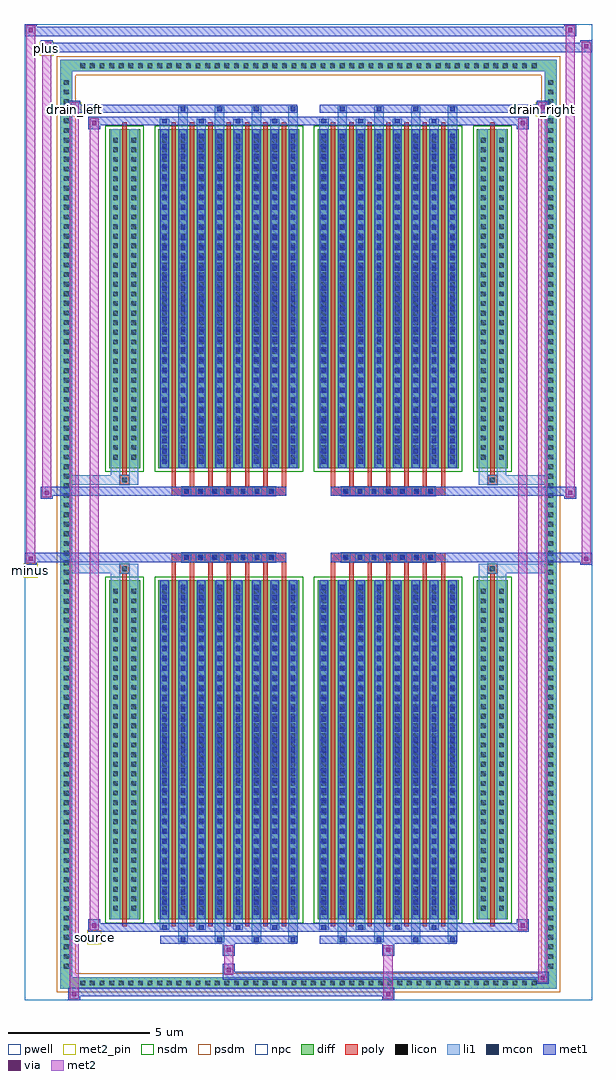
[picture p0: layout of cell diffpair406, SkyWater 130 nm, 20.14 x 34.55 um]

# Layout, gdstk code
import gdstk
lib = gdstk.Library(unit=1e-6, precision=5e-09)
def R(c, l, rs):  # rectangles x0, y0, x1, y1
    for r in rs: c.add(gdstk.rectangle(r[:2], r[2:], *l))
def A(c, l, x, y, w, h, nx, ny, dx, dy):  # array of equal rectangles
    R(c, l, [(x+i*dx, y+j*dy, x+i*dx+w, y+j*dy+h) for i in range(nx) for j in range(ny)])
def P(c, l, *ps):  # polygons
    for p in ps: c.add(gdstk.Polygon(p, *l))
pwell = (64, 44)
diff = (65, 20)
poly = (66, 20)
licon = (66, 44)
li1 = (67, 20)
mcon = (67, 44)
met1 = (68, 20)
via = (68, 44)
met2_pin = (69, 16)
met2 = (69, 20)
nsdm = (93, 44)
psdm = (94, 20)
npc = (95, 20)

diffpair406 = lib.new_cell('diffpair406')
R(diffpair406, pwell, [(-10.05,-16.84,10.05,17.71), (-7.37,-15.03,-0.01,-0.805), (0.01,-15.03,7.37,-0.805), (-7.37,0.805,-0.01,15.03), (0.01,0.805,7.37,15.03)])
A(diffpair406, diff, -8.195, -16.44, 0.41, 0.41, 48, 2, 0.34, 32.47)
A(diffpair406, diff, -8.78, -15.845, 0.41, 0.41, 1, 93, 0, 0.34)
A(diffpair406, diff, 8.37, -15.845, 0.41, 0.41, 1, 93, 0, 0.34)
R(diffpair406, diff, [(-8.195,-16.44,8.195,-16.03), (-8.78,-15.845,-8.37,15.845), (8.37,-15.845,8.78,15.845), (-7.06,-13.985,-5.96,-1.985), (-5.32,-13.985,-0.32,-1.985), (0.32,-13.985,5.32,-1.985), (5.96,-13.985,7.06,-1.985), (-7.06,1.985,-5.96,13.985), (-5.32,1.985,-0.32,13.985), (0.32,1.985,5.32,13.985), (5.96,1.985,7.06,13.985), (-8.195,16.03,8.195,16.44)])
P(diffpair406, diff, [(8.78,16.44),(-8.78,16.44),(-8.78,-16.03),(-8.37,-16.03),(-8.37,16.03),(8.37,16.03),(8.37,-16.03),(-8.37,-16.03),(-8.78,-16.03),(-8.78,-16.44),(8.78,-16.44)])
A(diffpair406, poly, -4.845, -14.235, 0.15, 12.5, 7, 2, 0.65, 15.97)
A(diffpair406, poly, 0.795, -14.235, 0.15, 12.5, 7, 2, 0.65, 15.97)
A(diffpair406, poly, -4.845, -1.735, 0.15, 0.4, 7, 2, 0.65, 3.07)
A(diffpair406, poly, 0.795, -1.735, 0.15, 0.4, 7, 2, 0.65, 3.07)
A(diffpair406, poly, -4.485, -1.335, 0.33, 0.33, 7, 2, 0.5, 2.34)
A(diffpair406, poly, 1.155, -1.335, 0.33, 0.33, 7, 2, 0.5, 2.34)
R(diffpair406, poly, [(-6.585,-14.235,-6.435,-1.735), (6.435,-14.235,6.585,-1.735), (-6.675,-1.735,-6.345,-1.405), (-6.675,-1.735,-6.345,-1.405), (6.345,-1.735,6.675,-1.405), (6.345,-1.735,6.675,-1.405), (-4.845,-1.335,-0.795,-1.005), (0.795,-1.335,4.845,-1.005), (-4.845,1.005,-0.795,1.335), (0.795,1.005,4.845,1.335), (-6.675,1.405,-6.345,1.735), (-6.675,1.405,-6.345,1.735), (6.345,1.405,6.675,1.735), (6.345,1.405,6.675,1.735), (-6.585,1.735,-6.435,14.235), (6.435,1.735,6.585,14.235)])
A(diffpair406, licon, -8.075, -16.32, 0.17, 0.17, 48, 2, 0.34, 32.47)
A(diffpair406, licon, -8.66, -15.725, 0.17, 0.17, 1, 93, 0, 0.34)
A(diffpair406, licon, 8.49, -15.725, 0.17, 0.17, 1, 93, 0, 0.34)
A(diffpair406, licon, -6.92, -13.68, 0.17, 0.17, 1, 34, 0, 0.34)
A(diffpair406, licon, -6.27, -13.68, 0.17, 0.17, 1, 34, 0, 0.34)
A(diffpair406, licon, -5.18, -13.68, 0.17, 0.17, 8, 34, 0.65, 0.34)
A(diffpair406, licon, 0.46, -13.68, 0.17, 0.17, 8, 34, 0.65, 0.34)
A(diffpair406, licon, 6.1, -13.68, 0.17, 0.17, 1, 34, 0, 0.34)
A(diffpair406, licon, 6.75, -13.68, 0.17, 0.17, 1, 34, 0, 0.34)
A(diffpair406, licon, -4.405, -1.255, 0.17, 0.17, 7, 2, 0.5, 2.34)
A(diffpair406, licon, 1.235, -1.255, 0.17, 0.17, 7, 2, 0.5, 2.34)
A(diffpair406, licon, -6.92, 2.29, 0.17, 0.17, 1, 34, 0, 0.34)
A(diffpair406, licon, -6.27, 2.29, 0.17, 0.17, 1, 34, 0, 0.34)
A(diffpair406, licon, -5.18, 2.29, 0.17, 0.17, 8, 34, 0.65, 0.34)
A(diffpair406, licon, 0.46, 2.29, 0.17, 0.17, 8, 34, 0.65, 0.34)
A(diffpair406, licon, 6.1, 2.29, 0.17, 0.17, 1, 34, 0, 0.34)
A(diffpair406, licon, 6.75, 2.29, 0.17, 0.17, 1, 34, 0, 0.34)
R(diffpair406, licon, [(-6.595,-1.655,-6.425,-1.485), (6.425,-1.655,6.595,-1.485), (-6.595,1.485,-6.425,1.655), (6.425,1.485,6.595,1.655)])
A(diffpair406, li1, -8.155, -16.4, 0.33, 0.33, 48, 2, 0.34, 32.47)
A(diffpair406, li1, -8.74, -15.805, 0.33, 0.33, 1, 93, 0, 0.34)
A(diffpair406, li1, 8.41, -15.805, 0.33, 0.33, 1, 93, 0, 0.34)
A(diffpair406, li1, -4.61, -14.79, 0.33, 0.805, 4, 2, 1.3, 28.775)
A(diffpair406, li1, -4.53, -14.79, 0.17, 0.17, 4, 2, 1.3, 29.41)
A(diffpair406, li1, 1.03, -14.79, 0.33, 0.805, 4, 2, 1.3, 28.775)
A(diffpair406, li1, 1.11, -14.79, 0.17, 0.17, 4, 2, 1.3, 29.41)
A(diffpair406, li1, -5.26, -14.36, 0.33, 0.375, 4, 2, 1.3, 28.345)
A(diffpair406, li1, -5.18, -14.36, 0.17, 0.17, 4, 2, 1.3, 28.55)
A(diffpair406, li1, 0.38, -14.36, 0.33, 0.375, 4, 2, 1.3, 28.345)
A(diffpair406, li1, 0.46, -14.36, 0.17, 0.17, 4, 2, 1.3, 28.55)
A(diffpair406, li1, -5.26, -13.985, 0.33, 12, 8, 2, 0.65, 15.97)
A(diffpair406, li1, 0.38, -13.985, 0.33, 12, 8, 2, 0.65, 15.97)
A(diffpair406, li1, -5.18, -13.83, 0.17, 0.17, 8, 33, 0.65, 0.36)
A(diffpair406, li1, -5.18, -13.83, 0.17, 11.69, 8, 2, 0.65, 15.97)
A(diffpair406, li1, 0.46, -13.83, 0.17, 0.17, 8, 33, 0.65, 0.36)
A(diffpair406, li1, 0.46, -13.83, 0.17, 11.69, 8, 2, 0.65, 15.97)
A(diffpair406, li1, -7, -13.76, 0.33, 0.33, 1, 34, 0, 0.34)
A(diffpair406, li1, -6.35, -13.76, 0.33, 0.33, 1, 34, 0, 0.34)
A(diffpair406, li1, -5.26, -13.76, 0.33, 0.33, 8, 34, 0.65, 0.34)
A(diffpair406, li1, 0.38, -13.76, 0.33, 0.33, 8, 34, 0.65, 0.34)
A(diffpair406, li1, 6.02, -13.76, 0.33, 0.33, 1, 34, 0, 0.34)
A(diffpair406, li1, 6.67, -13.76, 0.33, 0.33, 1, 34, 0, 0.34)
A(diffpair406, li1, -4.485, -1.335, 0.33, 0.33, 7, 2, 0.5, 2.34)
A(diffpair406, li1, 1.155, -1.335, 0.33, 0.33, 7, 2, 0.5, 2.34)
A(diffpair406, li1, -5.18, 2.14, 0.17, 0.17, 8, 33, 0.65, 0.36)
A(diffpair406, li1, 0.46, 2.14, 0.17, 0.17, 8, 33, 0.65, 0.36)
A(diffpair406, li1, -7, 2.21, 0.33, 0.33, 1, 34, 0, 0.34)
A(diffpair406, li1, -6.35, 2.21, 0.33, 0.33, 1, 34, 0, 0.34)
A(diffpair406, li1, -5.26, 2.21, 0.33, 0.33, 8, 34, 0.65, 0.34)
A(diffpair406, li1, 0.38, 2.21, 0.33, 0.33, 8, 34, 0.65, 0.34)
A(diffpair406, li1, 6.02, 2.21, 0.33, 0.33, 1, 34, 0, 0.34)
A(diffpair406, li1, 6.67, 2.21, 0.33, 0.33, 1, 34, 0, 0.34)
R(diffpair406, li1, [(-8.78,-16.44,-8.37,-16.03), (-8.78,-16.44,-8.37,-16.03), (-8.37,-16.44,8.37,-16.03), (8.37,-16.44,8.78,-16.03), (8.37,-16.44,8.78,-16.03), (-8.78,-16.03,-8.37,16.03), (8.37,-16.03,8.78,16.03), (-7,-13.985,-6.67,-1.985), (-6.35,-13.985,-6.02,-1.985), (6.02,-13.985,6.35,-1.985), (6.67,-13.985,7,-1.985), (-7,-1.985,-6.67,-1.405), (-6.35,-1.985,-6.02,-1.405), (6.02,-1.985,6.35,-1.405), (6.67,-1.985,7,-1.405), (-8.78,-1.735,-6.675,-1.405), (-7,-1.735,-6.675,-1.405), (-6.675,-1.735,-6.345,-1.405), (-6.345,-1.735,-6.02,-1.405), (6.02,-1.735,6.345,-1.405), (6.345,-1.735,6.675,-1.405), (6.345,-1.735,8.78,-1.405), (6.675,-1.735,7,-1.405), (-8.78,1.405,-6.675,1.735), (-7,1.405,-6.675,1.735), (-7,1.405,-6.67,1.985), (-6.675,1.405,-6.345,1.735), (-6.35,1.405,-6.02,1.985), (-6.345,1.405,-6.02,1.735), (6.02,1.405,6.345,1.735), (6.02,1.405,6.35,1.985), (6.345,1.405,6.675,1.735), (6.345,1.405,8.78,1.735), (6.67,1.405,7,1.985), (6.675,1.405,7,1.735), (-7,1.985,-6.67,13.985), (-6.35,1.985,-6.02,13.985), (6.02,1.985,6.35,13.985), (6.67,1.985,7,13.985), (-8.78,16.03,-8.37,16.44), (-8.78,16.03,-8.37,16.44), (-8.37,16.03,8.37,16.44), (8.37,16.03,8.78,16.44), (8.37,16.03,8.78,16.44)])
A(diffpair406, mcon, -4.53, -14.79, 0.17, 0.17, 4, 2, 1.3, 29.41)
A(diffpair406, mcon, 1.11, -14.79, 0.17, 0.17, 4, 2, 1.3, 29.41)
A(diffpair406, mcon, -5.18, -14.36, 0.17, 0.17, 4, 2, 1.3, 28.55)
A(diffpair406, mcon, 0.46, -14.36, 0.17, 0.17, 4, 2, 1.3, 28.55)
A(diffpair406, mcon, -5.18, -13.83, 0.17, 0.17, 8, 33, 0.65, 0.36)
A(diffpair406, mcon, 0.46, -13.83, 0.17, 0.17, 8, 33, 0.65, 0.36)
A(diffpair406, mcon, -4.405, -1.255, 0.17, 0.17, 7, 2, 0.5, 2.34)
A(diffpair406, mcon, 1.235, -1.255, 0.17, 0.17, 7, 2, 0.5, 2.34)
A(diffpair406, mcon, -5.18, 2.14, 0.17, 0.17, 8, 33, 0.65, 0.36)
A(diffpair406, mcon, 0.46, 2.14, 0.17, 0.17, 8, 33, 0.65, 0.36)
A(diffpair406, met1, -4.59, -14.85, 0.29, 0.29, 4, 2, 1.3, 29.41)
A(diffpair406, met1, 1.05, -14.85, 0.29, 0.29, 4, 2, 1.3, 29.41)
A(diffpair406, met1, -5.24, -14.42, 0.29, 0.29, 4, 2, 1.3, 28.55)
A(diffpair406, met1, 0.4, -14.42, 0.29, 0.29, 4, 2, 1.3, 28.55)
A(diffpair406, met1, -5.24, -13.985, 0.29, 12, 8, 2, 0.65, 15.97)
A(diffpair406, met1, 0.4, -13.985, 0.29, 12, 8, 2, 0.65, 15.97)
A(diffpair406, met1, -5.24, -13.89, 0.29, 0.29, 8, 33, 0.65, 0.36)
A(diffpair406, met1, 0.4, -13.89, 0.29, 0.29, 8, 33, 0.65, 0.36)
A(diffpair406, met1, -4.465, -1.315, 0.29, 0.29, 7, 2, 0.5, 2.34)
A(diffpair406, met1, 1.175, -1.315, 0.29, 0.29, 7, 2, 0.5, 2.34)
A(diffpair406, met1, -5.24, 2.08, 0.29, 0.29, 8, 33, 0.65, 0.36)
A(diffpair406, met1, 0.4, 2.08, 0.29, 0.29, 8, 33, 0.65, 0.36)
R(diffpair406, met1, [(-8.51,-16.84,-8.08,-16.41), (2.605,-16.84,3.035,-16.41), (-8.51,-16.7,3.035,-16.41), (8.08,-16.27,8.51,-15.84), (-3.035,-16.13,8.51,-15.84), (-3.035,-15.99,-2.605,-15.56), (-3.035,-15.28,-2.605,-14.85), (2.605,-15.28,3.035,-14.85), (-5.24,-14.85,-0.4,-14.56), (0.4,-14.85,5.24,-14.56), (-7.8,-14.42,-7.37,-13.99), (-7.8,-14.42,-5.24,-14.13), (-5.24,-14.42,-0.4,-14.13), (-0.4,-14.42,0.4,-14.13), (0.4,-14.42,5.24,-14.13), (5.24,-14.42,7.8,-14.13), (7.37,-14.42,7.8,-13.99), (-10.05,-1.435,-9.62,-1.005), (9.62,-1.435,10.05,-1.005), (-10.05,-1.335,-0.795,-1.005), (-4.845,-1.335,-0.795,-1.005), (0.795,-1.335,4.845,-1.005), (0.795,-1.335,10.05,-1.005), (-9.48,0.905,-9.05,1.335), (9.05,0.905,9.48,1.335), (-9.48,1.005,-4.845,1.335), (-4.845,1.005,-0.795,1.335), (0.795,1.005,4.845,1.335), (4.845,1.005,9.48,1.335), (-7.8,13.99,-7.37,14.42), (7.37,13.99,7.8,14.42), (-7.8,14.13,-5.24,14.42), (-5.24,14.13,-0.4,14.42), (-0.4,14.13,0.4,14.42), (0.4,14.13,5.24,14.42), (5.24,14.13,7.8,14.42), (-8.51,14.56,-8.08,14.99), (-8.51,14.56,-5.24,14.85), (-5.24,14.56,-0.4,14.85), (0.4,14.56,5.24,14.85), (5.24,14.56,8.51,14.85), (8.08,14.56,8.51,14.99), (-9.48,16.71,-9.05,17.14), (-9.48,16.71,-7.37,17.04), (-7.37,16.71,7.37,17.04), (7.37,16.71,10.05,17.04), (9.62,16.71,10.05,17.14), (-10.05,17.28,-9.62,17.71), (-10.05,17.28,-7.37,17.61), (-7.37,17.28,7.37,17.61), (7.37,17.28,9.48,17.61), (9.05,17.28,9.48,17.71)])
R(diffpair406, via, [(-8.37,-16.7,-8.22,-16.55), (2.745,-16.7,2.895,-16.55), (8.22,-16.13,8.37,-15.98), (-2.895,-15.85,-2.745,-15.7), (-2.895,-15.14,-2.745,-14.99), (2.745,-15.14,2.895,-14.99), (-7.66,-14.28,-7.51,-14.13), (7.51,-14.28,7.66,-14.13), (-9.91,-1.295,-9.76,-1.145), (9.76,-1.295,9.91,-1.145), (-9.34,1.045,-9.19,1.195), (9.19,1.045,9.34,1.195), (-7.66,14.13,-7.51,14.28), (7.51,14.13,7.66,14.28), (-8.37,14.7,-8.22,14.85), (8.22,14.7,8.37,14.85), (-9.34,16.85,-9.19,17), (9.76,16.85,9.91,17), (-9.91,17.42,-9.76,17.57), (9.19,17.42,9.34,17.57)])
R(diffpair406, met2_pin, [(-7.835,-14.87,-7.335,-14.37), (-10.085,-1.885,-9.585,-1.385), (-8.545,14.44,-8.045,14.94), (8.045,14.44,8.545,14.94), (-9.515,16.59,-9.015,17.09)])
R(diffpair406, met2, [(-8.46,-16.79,-8.13,-16.46), (-8.46,-16.79,-8.13,14.94), (2.655,-16.79,2.985,-16.46), (2.655,-16.46,2.985,-15.23), (8.13,-16.22,8.46,-15.89), (8.13,-16.22,8.46,14.94), (-2.985,-15.94,-2.655,-15.61), (-2.985,-15.61,-2.655,-15.23), (-2.985,-15.23,-2.655,-14.9), (2.655,-15.23,2.985,-14.9), (-7.75,-14.37,-7.42,-14.04), (-7.75,-14.37,-7.42,14.37), (7.42,-14.37,7.75,-14.04), (7.42,-14.37,7.75,14.37), (-10,-1.385,-9.67,-1.055), (-10,-1.385,-9.67,17.66), (9.67,-1.385,10,-1.055), (9.67,-1.385,10,17.09), (-9.43,0.955,-9.1,1.285), (-9.43,0.955,-9.1,17.09), (9.1,0.955,9.43,1.285), (9.1,0.955,9.43,17.66), (-7.75,14.04,-7.42,14.37), (7.42,14.04,7.75,14.37), (-8.46,14.61,-8.13,14.94), (8.13,14.61,8.46,14.94), (-9.43,16.76,-9.1,17.09), (9.67,16.76,10,17.09), (-10,17.33,-9.67,17.66), (9.1,17.33,9.43,17.66)])
P(diffpair406, met2, [(10,-1.385),(10,-1.385),(10,-1.055),(10,-1.055)],
  [(10,16.76),(10,16.76),(10,17.09),(10,17.09)],
  [(-9.67,-1.385),(-9.67,-1.385),(-9.67,-1.055),(-9.67,-1.055)],
  [(-9.67,17.33),(-9.67,17.33),(-9.67,17.66),(-9.67,17.66)],
  [(9.43,0.955),(9.43,0.955),(9.43,1.285),(9.43,1.285)],
  [(9.43,17.33),(9.43,17.33),(9.43,17.66),(9.43,17.66)],
  [(-9.1,0.955),(-9.1,0.955),(-9.1,1.285),(-9.1,1.285)],
  [(-9.1,16.76),(-9.1,16.76),(-9.1,17.09),(-9.1,17.09)],
  [(-8.13,-16.79),(-8.13,-16.79),(-8.13,-16.46),(-8.13,-16.46)],
  [(-8.13,14.61),(-8.13,14.61),(-8.13,14.94),(-8.13,14.94)],
  [(8.46,-16.22),(8.46,-16.22),(8.46,-15.89),(8.46,-15.89)],
  [(8.46,14.61),(8.46,14.61),(8.46,14.94),(8.46,14.94)],
  [(-7.42,-14.37),(-7.42,-14.37),(-7.42,-14.04),(-7.42,-14.04)],
  [(-7.42,14.04),(-7.42,14.04),(-7.42,14.37),(-7.42,14.37)],
  [(7.75,-14.37),(7.75,-14.37),(7.75,-14.04),(7.75,-14.04)],
  [(7.75,14.04),(7.75,14.04),(7.75,14.37),(7.75,14.37)])
R(diffpair406, nsdm, [(-7.19,-14.115,-5.83,-1.855), (-5.45,-14.115,-0.19,-1.855), (0.19,-14.115,5.45,-1.855), (5.83,-14.115,7.19,-1.855), (-7.19,1.855,-5.83,14.115), (-5.45,1.855,-0.19,14.115), (0.19,1.855,5.45,14.115), (5.83,1.855,7.19,14.115)])
P(diffpair406, psdm, [(8.91,16.57),(-8.91,16.57),(-8.91,-15.9),(-8.24,-15.9),(-8.24,15.9),(8.24,15.9),(8.24,-15.9),(-8.24,-15.9),(-8.91,-15.9),(-8.91,-16.57),(8.91,-16.57)])
A(diffpair406, npc, -4.505, -1.355, 0.37, 0.37, 7, 2, 0.5, 2.34)
A(diffpair406, npc, 1.135, -1.355, 0.37, 0.37, 7, 2, 0.5, 2.34)
R(diffpair406, npc, [(-6.695,-1.755,-6.325,-1.385), (6.325,-1.755,6.695,-1.385), (-4.505,-1.355,-3.635,-0.985), (-4.505,-1.355,-3.635,-0.985), (-4.005,-1.355,-3.135,-0.985), (-4.005,-1.355,-3.135,-0.985), (-3.505,-1.355,-2.635,-0.985), (-3.505,-1.355,-2.635,-0.985), (-3.005,-1.355,-2.135,-0.985), (-3.005,-1.355,-2.135,-0.985), (-2.505,-1.355,-1.635,-0.985), (-2.505,-1.355,-1.635,-0.985), (-2.005,-1.355,-1.135,-0.985), (-2.005,-1.355,-1.135,-0.985), (1.135,-1.355,2.005,-0.985), (1.135,-1.355,2.005,-0.985), (1.635,-1.355,2.505,-0.985), (1.635,-1.355,2.505,-0.985), (2.135,-1.355,3.005,-0.985), (2.135,-1.355,3.005,-0.985), (2.635,-1.355,3.505,-0.985), (2.635,-1.355,3.505,-0.985), (3.135,-1.355,4.005,-0.985), (3.135,-1.355,4.005,-0.985), (3.635,-1.355,4.505,-0.985), (3.635,-1.355,4.505,-0.985), (-4.505,0.985,-3.635,1.355), (-4.505,0.985,-3.635,1.355), (-4.005,0.985,-3.135,1.355), (-4.005,0.985,-3.135,1.355), (-3.505,0.985,-2.635,1.355), (-3.505,0.985,-2.635,1.355), (-3.005,0.985,-2.135,1.355), (-3.005,0.985,-2.135,1.355), (-2.505,0.985,-1.635,1.355), (-2.505,0.985,-1.635,1.355), (-2.005,0.985,-1.135,1.355), (-2.005,0.985,-1.135,1.355), (1.135,0.985,2.005,1.355), (1.135,0.985,2.005,1.355), (1.635,0.985,2.505,1.355), (1.635,0.985,2.505,1.355), (2.135,0.985,3.005,1.355), (2.135,0.985,3.005,1.355), (2.635,0.985,3.505,1.355), (2.635,0.985,3.505,1.355), (3.135,0.985,4.005,1.355), (3.135,0.985,4.005,1.355), (3.635,0.985,4.505,1.355), (3.635,0.985,4.505,1.355), (-6.695,1.385,-6.325,1.755), (6.325,1.385,6.695,1.755)])
diffpair406.add(gdstk.Label('minus', (-9.835,-1.635), layer=69, texttype=5))
diffpair406.add(gdstk.Label('drain_right', (8.295,14.69), layer=69, texttype=5))
diffpair406.add(gdstk.Label('drain_left', (-8.295,14.69), layer=69, texttype=5))
diffpair406.add(gdstk.Label('source', (-7.585,-14.62), layer=69, texttype=5))
diffpair406.add(gdstk.Label('plus', (-9.265,16.84), layer=69, texttype=5))

lib.write_gds('diffpair406.gds')
